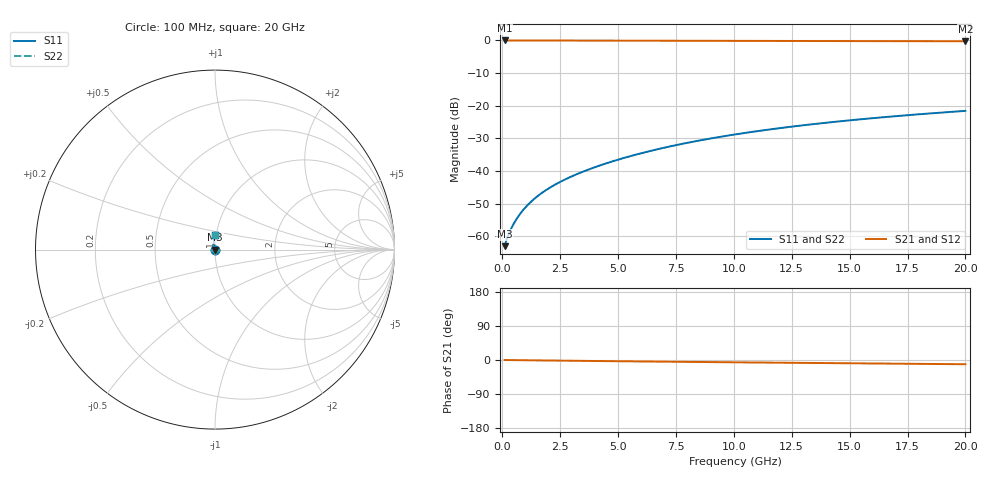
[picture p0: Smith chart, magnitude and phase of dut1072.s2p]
! Touchstone file exported from HFSS 2024.1.0
!  File:  C:/UserFiles/LocalFiles/RDL_TSV_Batchsim/temp_RDL_top_1072_1780045246.aedt
!  Generated:  05:02:57 PM May 29, 2026
!  Design:  RDL_top
!  Project:  temp_RDL_top_1072_1780045246
!  Setup:  Setup1
!  Solution:  Sweep
! Variables:
!  dtsv = 10.80580581um
!  hbump = 3um
!  htsv = 81.06um
!  ldown = 100um
!  lrdl = 173.8um
!  p = 40
!  p1 = 42.76um
!  rhole = 1um
!  t = 450um
!  tdown = 3.915915916um
!  trdl = 5um
!  wdown = 15.38538539um
!  wrdl = 29um
# GHz S MA R 50.000000
! Terminal data exported
! Port[1] = Box2_T1
! Port[2] = Box2_T2
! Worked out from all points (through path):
!   200 points, 100 MHz to 20 GHz, reference 50 ohm
!   highest |S21| = -0.01 dB at 100 MHz (marker M1); lowest = -0.2 dB at 20 GHz (marker M2)
!   group delay of S21, straight-line fit = 1.53 ps
!   lowest |S11| = -63.0 dB at 100 MHz (marker M3), VSWR 1.00, Z = 50.1 + j0.0353 ohm
!   |S11| at or under -10 dB: start of sweep to end of sweep
!   |S22| runs from -63.0 to -21.6 dB; largest |S21 - S12| = 2.2e-15
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0.1  0.0007107 29.8  0.9994 -0.1  0.9994 -0.1  0.0007107 29.8
! Gamma 0 0 0 0
! Port Impedance 50 0 50 0
0.2  0.0009317 43.3  0.9993 -0.1  0.9993 -0.1  0.0009317 43.3
0.3  0.001145 51.5  0.9992 -0.2  0.9992 -0.2  0.001145 51.5
0.5  0.001581 62.7  0.9991 -0.4  0.9991 -0.4  0.001581 62.7
0.6  0.001811 66.6  0.9991 -0.4  0.9991 -0.4  0.001811 66.6
0.8  0.00229 72.4  0.999 -0.6  0.999 -0.6  0.00229 72.4
1  0.002788 76.6  0.9989 -0.7  0.9989 -0.7  0.002788 76.6
1.2  0.003299 79.6  0.9987 -0.8  0.9987 -0.8  0.003299 79.6
1.7  0.004618 85.0  0.9983 -1.2  0.9983 -1.2  0.004618 85.0
2.2  0.005991 88.6  0.9978 -1.5  0.9978 -1.5  0.005991 88.6
2.8  0.007719 91.8  0.997 -1.9  0.997 -1.9  0.007719 91.8
3.5  0.009863 94.6  0.9959 -2.3  0.9959 -2.3  0.009863 94.6
4.2  0.01216 96.7  0.9947 -2.8  0.9947 -2.8  0.01216 96.7
5  0.01498 98.4  0.9932 -3.3  0.9932 -3.3  0.01498 98.3
5.9  0.01839 99.5  0.9915 -3.8  0.9915 -3.8  0.01839 99.5
6.8  0.02203 100.1  0.9898 -4.3  0.9898 -4.3  0.02203 100.1
8.4  0.02892 100.2  0.9869 -5.2  0.9869 -5.2  0.02892 100.2
10.1  0.03666 99.3  0.984 -6.1  0.984 -6.1  0.03666 99.3
11.7  0.04417 98.1  0.9816 -7.0  0.9816 -7.0  0.04416 98.1
13.4  0.05225 96.6  0.9792 -7.9  0.9792 -7.9  0.05225 96.6
16.7  0.068 93.5  0.9752 -9.5  0.9752 -9.5  0.06799 93.5
20  0.0836 90.4  0.9717 -11.2  0.9717 -11.2  0.0836 90.4
